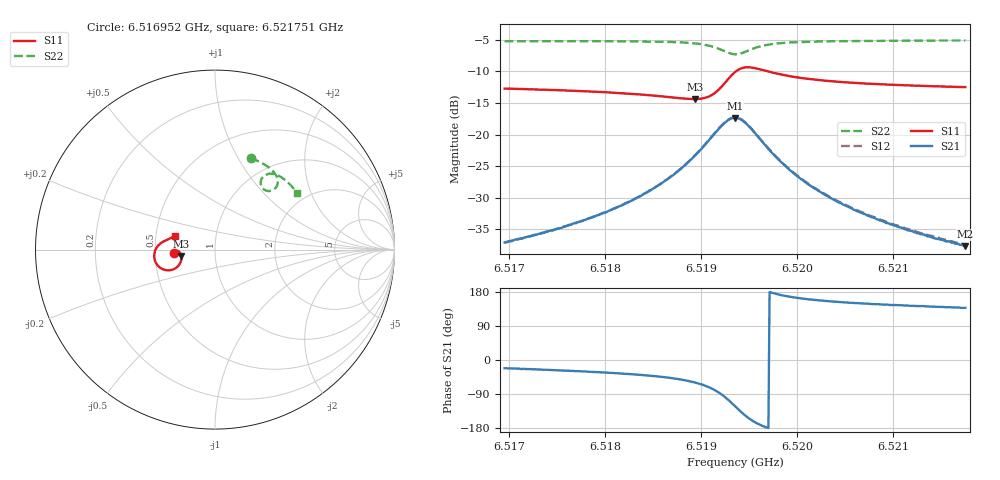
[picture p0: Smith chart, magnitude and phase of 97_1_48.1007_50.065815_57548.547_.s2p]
#  HZ  S  RI  R  50.00
! Rohde & Schwarz Vector Network Analyzer
! Rohde-Schwarz,ZNB20-2Port,1311601062101988,3.16
! Created: UTC 12/23/2023, 3:44:22 AM
! freq[Hz]  re:S11  im:S11  re:S21  im:S21  re:S12  im:S12  re:S22  im:S22
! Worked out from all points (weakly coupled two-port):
!   401 points, 6.516952 GHz to 6.521751 GHz, reference 50 ohm
!   highest |S21| = -17.34 dB at 6.519351 GHz (marker M1); lowest = -37.7 dB at 6.521751 GHz (marker M2)
!   lowest |S11| = -14.4 dB at 6.518932 GHz (marker M3), VSWR 1.47, Z = 34.1 - j2.53 ohm
!   |S11| at or under -10 dB: start of sweep to 6.51936 GHz; 6.519697 GHz to end of sweep
!   |S22| runs from -7.3 to -5.1 dB; largest |S21 - S12| = 0.0041
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6.5169523e9  -0.2308 -0.0182  0.013 -0.0052  0.0131 -0.00479  0.2002 0.5105
6.5174441e9  -0.2253 -0.0111  0.0157 -0.00787  0.0157 -0.0072  0.2365 0.495
6.517756e9  -0.2208 -0.00758  0.018 -0.0105  0.0182 -0.00967  0.2595 0.4835
6.5181759e9  -0.2127 -0.00527  0.0224 -0.0163  0.023 -0.0155  0.2911 0.464
6.5185597e9  -0.2016 -0.00968  0.0287 -0.0277  0.0298 -0.0268  0.3208 0.4393
6.5187757e9  -0.1932 -0.0198  0.0332 -0.0409  0.0347 -0.0401  0.3374 0.4187
6.5189316e9  -0.1878 -0.0357  0.0348 -0.0582  0.0367 -0.0575  0.3473 0.397
6.5190396e9  -0.1876 -0.055  0.0316 -0.0769  0.0342 -0.0765  0.35 0.376
6.5191235e9  -0.1946 -0.0761  0.022 -0.0962  0.0251 -0.0963  0.3454 0.3557
6.5192555e9  -0.2366 -0.1116  -0.021 -0.1243  -0.0174 -0.1259  0.3129 0.3276
6.5193515e9  -0.2933 -0.1082  -0.0716 -0.1154  -0.0689 -0.1183  0.2738 0.3346
6.5194115e9  -0.3228 -0.084  -0.0952 -0.0912  -0.0934 -0.0945  0.2579 0.3552
6.5194714e9  -0.3371 -0.0526  -0.1046 -0.0625  -0.1034 -0.0658  0.2552 0.3788
6.5195674e9  -0.3348 -0.00919  -0.0978 -0.0256  -0.0979 -0.0287  0.269 0.4067
6.5196754e9  -0.3189 0.0198  -0.0809 -0.00345  -0.0814 -0.00571  0.2918 0.4204
6.5198913e9  -0.2897 0.0438  -0.0539 0.0113  -0.0547 0.00974  0.3287 0.4212
6.5201552e9  -0.2682 0.054  -0.036 0.0137  -0.0368 0.0129  0.3592 0.4094
6.5203591e9  -0.2579 0.0583  -0.0282 0.0135  -0.0289 0.0128  0.377 0.3981
6.5205991e9  -0.249 0.0622  -0.022 0.0125  -0.0227 0.012  0.3947 0.3841
6.5209589e9  -0.2392 0.0674  -0.0162 0.0113  -0.0169 0.0109  0.4176 0.363
6.5214268e9  -0.2297 0.0741  -0.0118 0.00952  -0.0123 0.00962  0.4431 0.3346
6.5217507e9  -0.2244 0.0784  -0.00972 0.00879  -0.0101 0.0088  0.4587 0.3145
